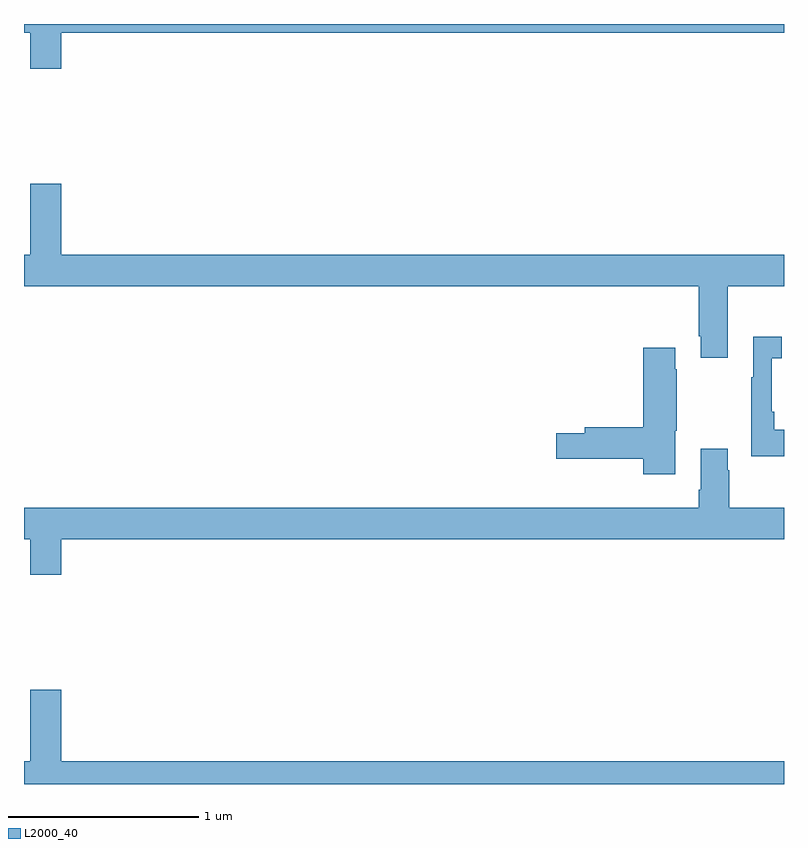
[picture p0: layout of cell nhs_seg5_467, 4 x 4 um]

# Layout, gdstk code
import gdstk
lib = gdstk.Library(unit=1e-6, precision=1e-09)
def P(c, l, *ps):  # polygons
    for p in ps: c.add(gdstk.Polygon(p, *l))
L2000_40 = (2000, 40)

nhs_seg5_467 = lib.new_cell('nhs_seg5_467')
P(nhs_seg5_467, L2000_40, [(141.196,864.752),(145,864.752),(145,864.799),(141,864.799),(141,864.752),(141.032,864.752),(141.032,864.564),(141.196,864.564)],
  [(144.703,863.42),(145,863.42),(145,863.584),(141.196,863.584),(141.196,863.959),(141.032,863.959),(141.032,863.584),(141,863.584),(141,863.42),(144.551,863.42),(144.551,863.155),(144.563,863.155),(144.563,863.043),(144.703,863.043)],
  [(145,862.663),(144.949,862.663),(144.949,862.759),(144.936,862.759),(144.936,863.039),(144.988,863.039),(144.988,863.152),(144.839,863.152),(144.839,862.939),(144.828,862.939),(144.828,862.523),(145,862.523)],
  [(144.427,862.659),(144.435,862.659),(144.435,862.982),(144.427,862.982),(144.427,863.095),(144.26,863.095),(144.26,862.676),(143.951,862.676),(143.951,862.646),(143.802,862.646),(143.802,862.511),(144.26,862.511),(144.26,862.428),(144.427,862.428)],
  [(141.196,862.088),(145,862.088),(145,862.252),(144.711,862.252),(144.711,862.451),(144.703,862.451),(144.703,862.564),(144.563,862.564),(144.563,862.348),(144.551,862.348),(144.551,862.252),(141,862.252),(141,862.088),(141.032,862.088),(141.032,861.9),(141.196,861.9)],
  [(141.196,861.295),(141.032,861.295),(141.032,860.92),(141,860.92),(141,860.799),(145,860.799),(145,860.92),(141.196,860.92)])

lib.write_gds('nhs_seg5_467.gds')
